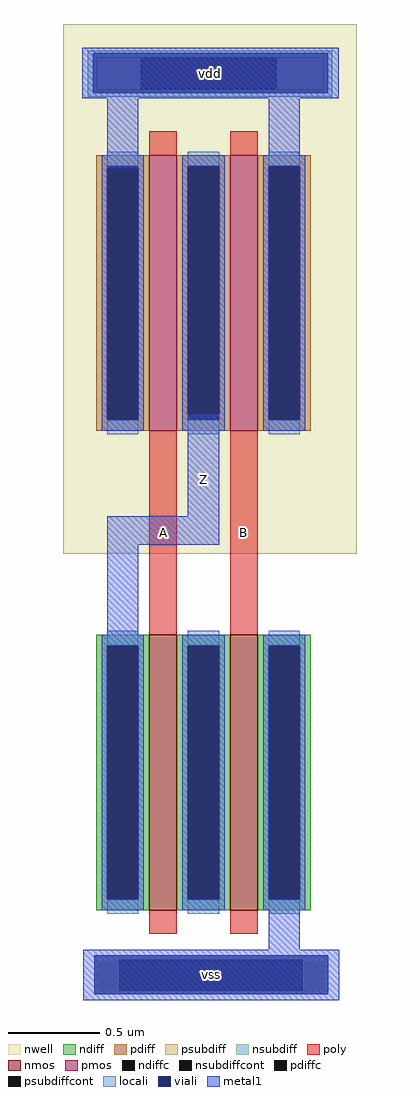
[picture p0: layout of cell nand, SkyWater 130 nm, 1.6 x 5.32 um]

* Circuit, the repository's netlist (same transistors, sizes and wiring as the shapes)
* NGSPICE file created from nand.ext - technology: sky130A

.subckt sky130_fd_pr__nfet_01v8_EAKVGK a_15_n150# a_n15_n176# a_n73_n150# VSUBS
X0 a_15_n150# a_n15_n176# a_n73_n150# VSUBS sky130_fd_pr__nfet_01v8 ad=0.435 pd=3.58 as=0.435 ps=3.58 w=1.5 l=0.15
.ends

.subckt sky130_fd_pr__pfet_01v8_52K3FE a_15_n150# a_n15_n176# a_n73_n150# w_n109_n212#
X0 a_15_n150# a_n15_n176# a_n73_n150# w_n109_n212# sky130_fd_pr__pfet_01v8 ad=0.435 pd=3.58 as=0.435 ps=3.58 w=1.5 l=0.15
.ends

nand
Xsky130_fd_pr__nfet_01v8_EAKVGK_0 sky130_fd_pr__nfet_01v8_EAKVGK_0/a_15_n150# a_94_422#
+ Z vss sky130_fd_pr__nfet_01v8_EAKVGK
Xsky130_fd_pr__nfet_01v8_EAKVGK_1 vss a_182_419# sky130_fd_pr__nfet_01v8_EAKVGK_0/a_15_n150#
+ vss sky130_fd_pr__nfet_01v8_EAKVGK
Xsky130_fd_pr__pfet_01v8_52K3FE_0 Z a_94_422# vdd vdd sky130_fd_pr__pfet_01v8_52K3FE
Xsky130_fd_pr__pfet_01v8_52K3FE_1 vdd a_182_419# Z vdd sky130_fd_pr__pfet_01v8_52K3FE
.ends

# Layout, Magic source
magic
tech sky130A
magscale 1 2
<< poly >>
rect 94 422 124 604
rect 182 419 212 601
<< metal1 >>
rect 21 982 300 1037
rect 48 906 82 982
rect 224 915 258 982
rect 136 527 170 638
rect 48 496 170 527
rect 48 393 82 496
rect 224 55 258 106
rect 22 0 301 55
use grid  grid_0 ../grid
transform 1 0 61 0 1 10
box -61 -10 259 1053
use sky130_fd_pr__nfet_01v8_EAKVGK  sky130_fd_pr__nfet_01v8_EAKVGK_0
transform 1 0 109 0 1 248
box -73 -176 73 176
use sky130_fd_pr__nfet_01v8_EAKVGK  sky130_fd_pr__nfet_01v8_EAKVGK_1
transform 1 0 197 0 1 248
box -73 -176 73 176
use sky130_fd_pr__pfet_01v8_52K3FE  sky130_fd_pr__pfet_01v8_52K3FE_0
transform 1 0 109 0 1 770
box -109 -212 109 212
use sky130_fd_pr__pfet_01v8_52K3FE  sky130_fd_pr__pfet_01v8_52K3FE_1
transform 1 0 197 0 1 770
box -109 -212 109 212
<< labels >>
rlabel metal1 21 982 300 1037 1 vdd
rlabel metal1 136 496 170 638 1 Z
rlabel space 94 398 124 620 1 A
rlabel space 182 398 212 620 1 B
rlabel metal1 22 0 301 55 1 vss
<< end >>

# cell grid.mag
magic
tech sky130A
magscale 1 2
<< nwell >>
rect -61 476 259 1053
<< psubdiff >>
rect -24 0 0 34
rect 200 0 224 34
<< nsubdiff >>
rect -25 1016 223 1017
rect -25 982 24 1016
rect 171 982 223 1016
rect -25 981 223 982
<< psubdiffcont >>
rect 0 0 200 34
<< nsubdiffcont >>
rect 24 982 171 1016
<< locali >>
rect -34 1021 232 1024
rect -34 978 -28 1021
rect 227 978 232 1021
rect -34 974 232 978
<< viali >>
rect -28 1016 227 1021
rect -28 982 24 1016
rect 24 982 171 1016
rect 171 982 227 1016
rect -28 978 227 982
rect -27 34 228 39
rect -27 0 0 34
rect 0 0 200 34
rect 200 0 228 34
rect -27 -4 228 0
<< metal1 >>
rect -40 1021 239 1027
rect -40 978 -28 1021
rect 227 978 239 1021
rect -40 972 239 978
rect -39 39 240 45
rect -39 -4 -27 39
rect 228 -4 240 39
rect -39 -10 240 -4
<< end >>

# cell sky130_fd_pr__nfet_01v8_EAKVGK: kit device sky130_fd_pr__nfet_01v8, w 1.5 l 0.150 m 1 nf 1 diffcov 100 polycov 100 guard 0 glc 0 grc 0 gtc 0 gbc 0 tbcov 100 rlcov 100 topc 0 botc 0 poverlap 0 doverlap 1 lmin 0.15 wmin 0.42 compatible {sky130_fd_pr__nfet_01v8 sky130_fd_pr__nfet_01v8_lvt sky130_fd_bs_flash__special_sonosfet_star sky130_fd_pr__nfet_g5v0d10v5 sky130_fd_pr__nfet_05v0_nvt sky130_fd_pr__nfet_03v3_nvt} full_metal 0 viasrc 100 viadrn 100 viagate 100 viagb 0 viagr 0 viagl 0 viagt 0

# cell sky130_fd_pr__pfet_01v8_52K3FE: kit device sky130_fd_pr__pfet_01v8, w 1.5 l 0.15 m 1 nf 1 diffcov 100 polycov 100 guard 0 glc 0 grc 0 gtc 0 gbc 0 tbcov 100 rlcov 100 topc 0 botc 0 poverlap 0 doverlap 1 lmin 0.15 wmin 0.42 compatible {sky130_fd_pr__pfet_01v8 sky130_fd_pr__pfet_01v8_lvt sky130_fd_pr__pfet_01v8_hvt sky130_fd_pr__pfet_g5v0d10v5} full_metal 0 viasrc 100 viadrn 100 viagate 100 viagb 0 viagr 0 viagl 0 viagt 0
